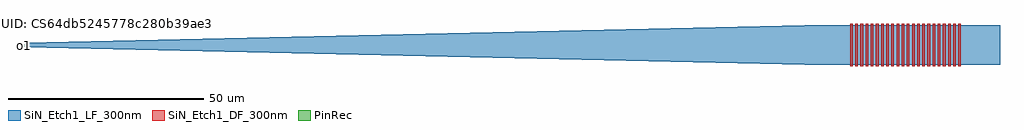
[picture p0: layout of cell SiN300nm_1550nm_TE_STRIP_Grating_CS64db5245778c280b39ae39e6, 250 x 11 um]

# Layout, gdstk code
import gdstk
lib = gdstk.Library(unit=1e-6, precision=1e-09)
def R(c, l, rs):  # rectangles x0, y0, x1, y1
    for r in rs: c.add(gdstk.rectangle(r[:2], r[2:], *l))
def A(c, l, x, y, w, h, nx, ny, dx, dy):  # array of equal rectangles
    R(c, l, [(x+i*dx, y+j*dy, x+i*dx+w, y+j*dy+h) for i in range(nx) for j in range(ny)])
def P(c, l, *ps):  # polygons
    for p in ps: c.add(gdstk.Polygon(p, *l))
PinRec = (1, 10)
SiN_Etch1_LF_300nm = (203, 0)
SiN_Etch1_DF_300nm = (204, 0)

sin300nm_1550nm_te_strip = lib.new_cell('SiN300nm_1550nm_TE_STRIP_Grating_CS64db5245778c280b39ae39e6')
R(sin300nm_1550nm_te_strip, PinRec, [(0,-0.6,0.1,0.6)])
R(sin300nm_1550nm_te_strip, SiN_Etch1_LF_300nm, [(200,-5,250,5)])
P(sin300nm_1550nm_te_strip, SiN_Etch1_LF_300nm, [(200,5),(200,-5),(0,-0.6),(0,0.6)])
A(sin300nm_1550nm_te_strip, SiN_Etch1_DF_300nm, 211.62, -5.5, 0.66, 11, 22, 1, 1.32, 0)
sin300nm_1550nm_te_strip.add(gdstk.Label('UID: CS64db5245778c280b39ae39e6', (0,5.5), layer=66, texttype=0))
sin300nm_1550nm_te_strip.add(gdstk.Label('o1', (0,0), layer=66, texttype=0))
sin300nm_1550nm_te_strip.add(gdstk.Label('vertical_te', (225,-15.802), layer=66, texttype=0))

lib.write_gds('SiN300nm_1550nm_TE_STRIP_Grating_CS64db5245778c280b39ae39e6.gds')
